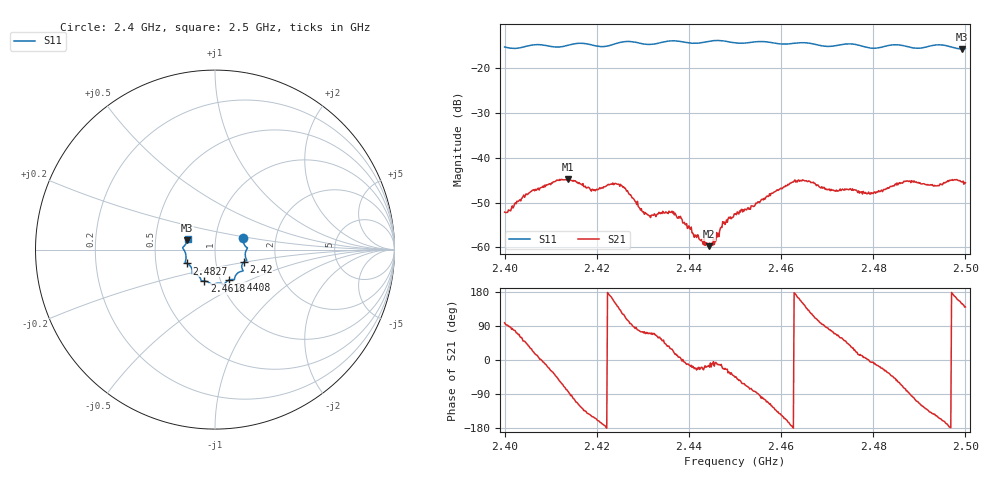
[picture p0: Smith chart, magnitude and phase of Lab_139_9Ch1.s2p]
# Hz S RI R 50
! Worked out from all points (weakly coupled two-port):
!   601 points, 2.4 GHz to 2.5 GHz, reference 50 ohm
!   highest |S21| = -44.76 dB at 2.4137 GHz (marker M1); lowest = -59.7 dB at 2.4443 GHz (marker M2)
!   lowest |S11| = -15.8 dB at 2.4993 GHz (marker M3), VSWR 1.39, Z = 36.5 + j3.83 ohm
!   |S11| at or under -10 dB: start of sweep to end of sweep
!   S12 and S22 are empty: the file has one direction only
!   S11 on the Smith chart (normalised r, x): 2.4 GHz: 1.36, +0.18; 2.42 GHz: 1.36, -0.20; 2.4408 GHz: 1.10, -0.39; 2.4618 GHz: 0.84, -0.30; 2.4827 GHz: 0.72, -0.12; 2.5 GHz: 0.73, +0.09
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2.4e9  0.1585 0.0628  -0.000356 0.00245  0 0  0 0
2.405833e9  0.1782 0.0114  0.00368 0.00207  0 0  0 0
2.413667e9  0.1714 -0.0463  0.000879 -0.00571  0 0  0 0
2.416667e9  0.1772 -0.0611  -0.0029 -0.00413  0 0  0 0
2.42e9  0.1595 -0.0704  -0.0041 -0.00172  0 0  0 0
2.425e9  0.1541 -0.1135  -0.00324 0.00353  0 0  0 0
2.430333e9  0.1333 -0.1262  0.00062 0.00226  0 0  0 0
2.433333e9  0.1115 -0.1509  0.00124 0.00201  0 0  0 0
2.436667e9  0.1083 -0.1676  0.00232 0.000924  0 0  0 0
2.440833e9  0.0803 -0.1693  0.00139 -0.000408  0 0  0 0
2.444333e9  0.0541 -0.1898  0.001 -0.000256  0 0  0 0
2.447667e9  0.0453 -0.1931  0.00175 -0.000795  0 0  0 0
2.45e9  0.0286 -0.1874  0.00165 -0.00168  0 0  0 0
2.461833e9  -0.0592 -0.1753  -0.005 -0.00104  0 0  0 0
2.466667e9  -0.0785 -0.1683  -0.00282 0.00448  0 0  0 0
2.472e9  -0.1134 -0.1356  0.00168 0.00402  0 0  0 0
2.482667e9  -0.1559 -0.0773  0.00392 -0.00207  0 0  0 0
2.483333e9  -0.1603 -0.0753  0.00376 -0.00258  0 0  0 0
2.487167e9  -0.1631 -0.0584  0.000832 -0.00539  0 0  0 0
2.4935e9  -0.1789 0.00709  -0.00406 -0.00266  0 0  0 0
2.499333e9  -0.1541 0.0512  -0.0046 0.0028  0 0  0 0
2.5e9  -0.1523 0.0606  -0.004 0.00337  0 0  0 0
